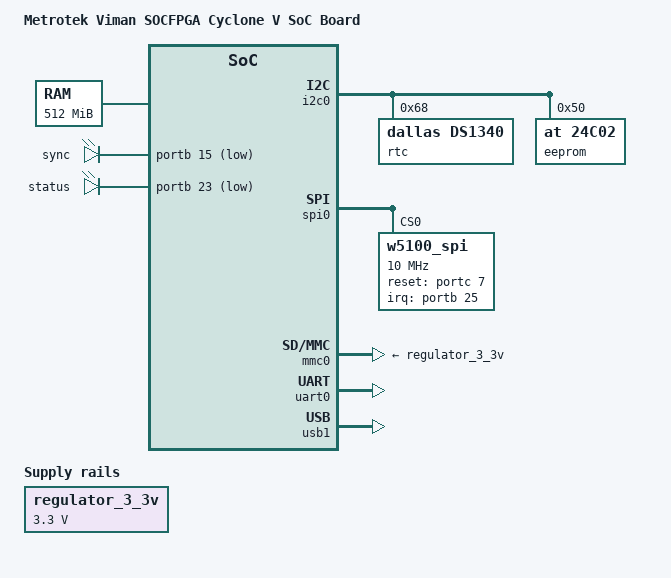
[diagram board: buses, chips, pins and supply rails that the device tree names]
/*
 * Copyright Altera Corporation (C) 2012,2014. All rights reserved.
 *
 * This program is free software; you can redistribute it and/or modify
 * it under the terms and conditions of the GNU General Public License,
 * version 2, as published by the Free Software Foundation.
 *
 * This program is distributed in the hope it will be useful, but WITHOUT
 * ANY WARRANTY; without even the implied warranty of MERCHANTABILITY or
 * FITNESS FOR A PARTICULAR PURPOSE.  See the GNU General Public License for
 * more details.
 *
 * You should have received a copy of the GNU General Public License along with
 * this program.  If not, see <http://www.gnu.org/licenses/>.
 */

#include "socfpga_cyclone5.dtsi"
#include <dt-bindings/input/input.h>
#include <dt-bindings/interrupt-controller/irq.h>
#include <dt-bindings/gpio/gpio.h>

/ {
	model = "Metrotek Viman SOCFPGA Cyclone V SoC Board";
	compatible = "altr,socfpga-cyclone5", "altr,socfpga";

	chosen {
		bootargs = "console=ttyS0,115200";
	};

	memory {
		name = "memory";
		device_type = "memory";
		reg = <0x0 0x20000000>; /* 512 MB */
	};

	aliases {
		/* This code makes i2c busses appear in sysfs numbered in a
		 * predictable and strict order */
		i2c0 = &i2c0;
		i2c1 = &i2c1;
	};

	regulator_3_3v: 3-3-v-regulator {
		compatible = "regulator-fixed";
		regulator-name = "3.3V";
		regulator-min-microvolt = <3300000>;
		regulator-max-microvolt = <3300000>;
	};

	leds {
		compatible = "gpio-leds";

		sync {
			label = "sync";
			gpios = <&portb 15 1>; /* Active low */
			linux,default-trigger = "none";
		};

		status {
			label = "status";
			gpios = <&portb 23 1>;
			default-state = "on";
		};

	};

	soc {
		gpio0: gpio@ff708000 {
			status = "okay";
		};

		gpio1: gpio@ff709000 {
			status = "okay";
		};

		gpio2: gpio@ff70a000 {
			status = "okay";
		};

		i2c0: i2c@ffc04000 {
			status = "okay";
			i2c-sda-falling-time-ns = <5000>;
			i2c-scl-falling-time-ns = <5000>;

			rtc@68 {
				compatible = "dallas,ds1340";
				reg = <0x68>;
				status = "okay";
			};

			eeprom@50 {
				compatible = "at,24c02";
				reg = <0x50>;
				status = "okay";
			};
		};

		i2c1: i2c@ffc05000 {
			status = "disabled";
		};

		pmu {
			cti0: cti0@ff118000 {
				status="okay";
			};

			cti1: cti1@ff119000 {
				status="okay";
			};
		};

		fpga {
			compatible = "mtk,etn";
			interrupts = <0x0 0x28 0x1>;
			mac-address = [ 00 21 CE 00 00 01 ];
		};

		hps_0_fpgamgr: fpgamgr@0xff706000 {
				 status = "disabled";
		};

		fpgamgr {
			compatible = "etn,fpga-mgr";
			transport = "mmio";
			reg = <0xff706000 0x1000 0xffb90000 0x1000>;
			interrupts = <0x0 0xaf 0x4>;
		};

	};
};

&spi0 {
	status = "okay";
	#address-cells = <0x1>;
	#size-cells = <0x0>;

	w5100_spi@0 {
		compatible = "w5100_spi";
		spi-max-frequency = <10000000>;
		mac-address = [ 00 21 CE 02 00 03 ];
		reg = <0x0>;
		interrupt-parent = <&portb>;
		interrupts = <25 0x2>;
		reset-gpios = <&portc 7 0>;
	};
};

&mmc0 {
/*	cd-gpios = <&portb 18 0>;*/
	vmmc-supply = <&regulator_3_3v>;
	vqmmc-supply = <&regulator_3_3v>;
};

&uart0 {
	status = "okay";
};

&usb1 {
	status = "okay";
};
